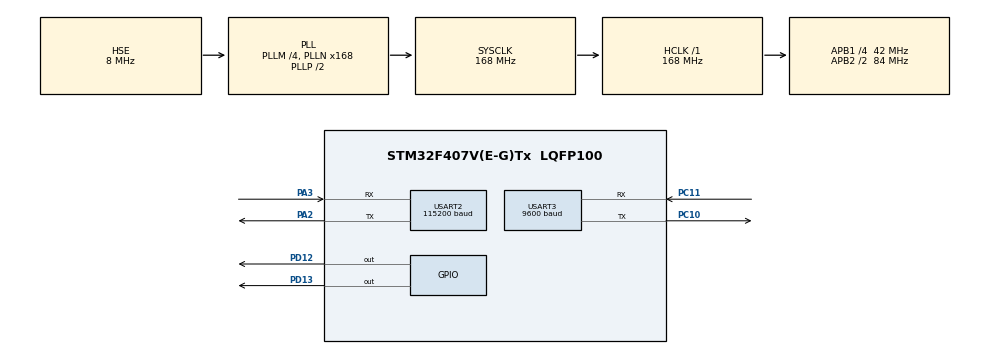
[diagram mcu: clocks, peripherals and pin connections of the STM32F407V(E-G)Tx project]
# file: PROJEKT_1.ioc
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Mcu.Family=STM32F4
Mcu.Name=STM32F407V(E-G)Tx
Mcu.Package=LQFP100
NVIC.PriorityGroup=NVIC_PRIORITYGROUP_4
NVIC.USART2_IRQn=true\:0\:0\:false\:false\:true\:true
NVIC.USART3_IRQn=true\:0\:0\:false\:false\:true\:true
PA2.Mode=Asynchronous
PA2.Signal=USART2_TX
PA3.Mode=Asynchronous
PA3.Signal=USART2_RX
PC10.Mode=Asynchronous
PC10.Signal=USART3_TX
PC11.Mode=Asynchronous
PC11.Signal=USART3_RX
PD12.Signal=GPIO_Output
PD13.Signal=GPIO_Output
PH0-OSC_IN.Mode=HSE-External-Oscillator
PH0-OSC_IN.Signal=RCC_OSC_IN
PH1-OSC_OUT.Mode=HSE-External-Oscillator
PH1-OSC_OUT.Signal=RCC_OSC_OUT
ProjectManager.HeapSize=0x200
ProjectManager.StackSize=0x400
ProjectManager.TargetToolchain=SW4STM32
RCC.48MHZClocksFreq_Value=84000000
RCC.AHBFreq_Value=168000000
RCC.APB1CLKDivider=RCC_HCLK_DIV4
RCC.APB1Freq_Value=42000000
RCC.APB1TimFreq_Value=84000000
RCC.APB2CLKDivider=RCC_HCLK_DIV2
RCC.APB2Freq_Value=84000000
RCC.APB2TimFreq_Value=168000000
RCC.CortexFreq_Value=168000000
RCC.HCLKFreq_Value=168000000
RCC.HSE_VALUE=8000000
RCC.HSI_VALUE=16000000
RCC.LSE_VALUE=32768
RCC.PLLM=4
RCC.PLLN=168
RCC.PLLSourceVirtual=RCC_PLLSOURCE_HSE
RCC.SYSCLKFreq_VALUE=168000000
RCC.SYSCLKSource=RCC_SYSCLKSOURCE_PLLCLK
RCC.VCOOutputFreq_Value=336000000
USART2.BaudRate=115200
USART2.VirtualMode=VM_ASYNC
USART3.BaudRate=9600
USART3.VirtualMode=VM_ASYNC
board=custom

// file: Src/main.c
/* USER CODE BEGIN Header */
/**
  ******************************************************************************
  * @file           : main.c
  * @brief          : Main program body
  ******************************************************************************
  ** This notice applies to any and all portions of this file
  * that are not between comment pairs USER CODE BEGIN and
  * USER CODE END. Other portions of this file, whether
  * inserted by the user or by software development tools
  * are owned by their respective copyright owners.
  *
  * COPYRIGHT(c) 2019 STMicroelectronics
  *
  * Redistribution and use in source and binary forms, with or without modification,
  * are permitted provided that the following conditions are met:
  *   1. Redistributions of source code must retain the above copyright notice,
  *      this list of conditions and the following disclaimer.
  *   2. Redistributions in binary form must reproduce the above copyright notice,
  *      this list of conditions and the following disclaimer in the documentation
  *      and/or other materials provided with the distribution.
  *   3. Neither the name of STMicroelectronics nor the names of its contributors
  *      may be used to endorse or promote products derived from this software
  *      without specific prior written permission.
  *
  * THIS SOFTWARE IS PROVIDED BY THE COPYRIGHT HOLDERS AND CONTRIBUTORS "AS IS"
  * AND ANY EXPRESS OR IMPLIED WARRANTIES, INCLUDING, BUT NOT LIMITED TO, THE
  * IMPLIED WARRANTIES OF MERCHANTABILITY AND FITNESS FOR A PARTICULAR PURPOSE ARE
  * DISCLAIMED. IN NO EVENT SHALL THE COPYRIGHT HOLDER OR CONTRIBUTORS BE LIABLE
  * FOR ANY DIRECT, INDIRECT, INCIDENTAL, SPECIAL, EXEMPLARY, OR CONSEQUENTIAL
  * DAMAGES (INCLUDING, BUT NOT LIMITED TO, PROCUREMENT OF SUBSTITUTE GOODS OR
  * SERVICES; LOSS OF USE, DATA, OR PROFITS; OR BUSINESS INTERRUPTION) HOWEVER
  * CAUSED AND ON ANY THEORY OF LIABILITY, WHETHER IN CONTRACT, STRICT LIABILITY,
  * OR TORT (INCLUDING NEGLIGENCE OR OTHERWISE) ARISING IN ANY WAY OUT OF THE USE
  * OF THIS SOFTWARE, EVEN IF ADVISED OF THE POSSIBILITY OF SUCH DAMAGE.
  *
  ******************************************************************************
  */
/* USER CODE END Header */

#include "main.h"

UART_HandleTypeDef huart2;
UART_HandleTypeDef huart3;

/* USER CODE BEGIN PV */

//	ZMIENNE DO POBIERANIA LOKALIZACJI
uint16_t sizeReceiveUART = 1;
uint8_t receiveUART[1];	//kontener na dane z modu³u GPS
uint8_t input[200];
uint16_t size = 7;
uint8_t signal[7]={'$', 'G', 'P', 'G', 'L', 'L', '\0'};	//ci¹g znaków, który szukamy w danych z modu³u GPS
uint8_t geomsg[80];			//kontener na wiadomoœc z lokalizacj¹
uint8_t space[1]={' '};
uint8_t end[1]={26};		//zakoñczenie wiadomoœci
uint8_t LAT[15];			//szerokoœc geograficzna
uint8_t LON[15];			//d³ugoœc geograficzna
uint8_t charac='1';
int i=0;					//zmienne do iteracji po znakach linii danych
int pos=0;
int k=0;
int licznik = -1;

//	KOMENDY AT DO KONFIGURACJI MODU£U GSM, WYSY£ANIA I ODBIERANIA WIADOMOŒCI
uint8_t ate[5] = {'A', 'T', 'E', '0', '\r'};																		//komenda AT wy³¹czaj¹ca echo
uint8_t at[3] = {'A', 'T', '\r'};																					//komenda AT sprawdzaj¹ca po³¹czenie - modu³ odpowiada OK
uint8_t cmgf[10]={'A','T','+','C','M','G','F','=','1', '\r'};														//komenda AT ustawiaj¹ca tryb wysy³ania i odbierania wiadomoœci
uint8_t cmgr[10]={'A','T','+','C','M','G','R','=','1', '\r'};														//komenda AT sprawdzaj¹ca, czy na pozycji 1 znajduje siê nowa wiadomoœc
uint8_t cnmi[18]={'A','T','+','C','N','M','I','=','1',',','1',',','0',',','0',',','0', '\r'};						//komenda AT z ustawieniami powiadomieñ o wiadomoœciach SMS
uint8_t cpms[23]={'A','T','+','C','P','M','S','=','"','S','M','"',',','"','S','M','"',',','"','S','M','"', '\r'};	//komenda AT ustawiaj¹ca zapis wiadomoœci w pamiêci modu³u
uint8_t cmgd[12]={'A','T','+','C','M','G','D','=','1',',','4', '\r'};												//komenda AT usuwaj¹ca wszystkie wiadomoœci z pamiêci modu³u
uint8_t cmgs[23]={'A','T','+','C','M','G','S','=','"','+','4','8','7','8','0','1','2','2','3','1','4','"','\r'};	//komenda AT inicjalizuj¹ca wysy³anie SMS na numer u¿ytkownika
uint8_t receiveREQUEST[100];	//kontener na odpowiedzi modu³u

//********************************************* FLAGA GOOD *****************************************
int good = 0;

	/*	Flaga, która "zarz¹dza" ca³ym procesem odbierania i wysy³ania wiadomoœci.
		Przybiera 5 wartoœci:
			0 = pocz¹tkowa wartoœc przed konfiguracj¹ modu³u GMS
			1 = po konfiguracji modu³u GSM czekamy na wiadomoœc od u¿ytkownika
			2 = otrzymaliœmy wiadomoœc, pobieramy lokalizacjê
			3 = pobraliœmy lokalizacjê, mo¿na przygotowac wiadomosc do wys³ania
			4 = wiadomoœc z lokalizacj¹ jest gotowa do wys³ania
			Struktura dzia³ania procesu to		0 -> 1 -> 2 -> 3 -> 4 -> 1 -> 2 -> 3 -> 4 -> 1 ->...
	*/

//***************************************************************************************************

int valueon=1;
int valueoff=0;

/* USER CODE END PV */

void SystemClock_Config(void);
static void MX_GPIO_Init(void);
static void MX_USART3_UART_Init(void);
static void MX_USART2_UART_Init(void);
/* USER CODE BEGIN PFP */

void HAL_UART_RxCpltCallback(UART_HandleTypeDef *huart) {
   if(huart->Instance == USART3){
	   //****************************************ODBIÓR DANYCH Z MODU£U GPS, WYCI¥GANIE Z DANYCH D£UGOŒCI I SZEROKOŒCI GEOGRAFICZNEJ******************************************

	   //	1.	Sprawdzamy, czy komunikat zaczyna sie od $GPGLL

	  if(good==2){
	   if(receiveUART[0]=='$'){						//wykryto now¹ liniê
		   if(licznik==-1){							//czy kontener jest pusty?
			   input[0]=receiveUART[0];				//wsadzamy znak do kontenera
			   licznik=1;							//mo¿na pobierac dalej
		   }
		   else good=3;								//zakoñczenie pobierania linii zaczynaj¹cej siê od $GPGLL, mo¿emy przejœc do przygotowywania wiadomoœci do wys³ania
	   }
	   else if(licznik>0){							//wsadzamy kolejne znaki po $ do kontenera
		   input[licznik]=receiveUART[0];
		   licznik++;

		   if(licznik==6){							//pobraliœmy 6 znaków
		   		   if(strcmp(input, signal)!=0){	//sprawdzamy, czy nasze 6 znaków to $GPGLL
		   			   licznik=-1;					//jeœli nie, zaczynamy od nowa, jeœli tak, to pobieramy dalej a¿ napotkamy znak $ (nowa linia)
		   		   }
		   	   }

	   }
	  }

	  //	2. Mamy liniê która nas interesuje, wyci¹gamy z niej szerokoœc i dlugoœc geograficzn¹ i stworzyc wiadomoœc do wys³ania

	  if(good==3){

		  charac=input[7];		// GPS wysy³a dane nawet jesli nie ma ³¹cznoœci z satelit¹ - 8. znak takiej linii danych jest wtedy przecinkiem
		  if(charac==','){good=2;}	//data invalid, wracamy do punktu 1.

		  else{		//data valid, wyci¹gamy z linii danych szerokoœc geograficzn¹ iteruj¹c po znakach
			  HAL_GPIO_WritePin(GPIOD, GPIO_PIN_12, valueon);
			  for(i=7; ; i++){
				if(input[i]==','){
					LAT[k]=input[i+1];
					pos=i+3;
				break;			//po naptkaniu przecinka koniec pobierania szerokosci
			  }
				LAT[k]=input[i];	//pobieranie szerokoœci
				k++;
		  }

		  	//	wyci¹gamy z linii d³ugoœc geograficzn¹ w taki sam sposób
		  	k=0;
		  	for(i=pos; ; i++){
		  		if(input[i]==','){
		  		LON[k]=input[i+1];
		  		break;
		  	}
		  		LON[k]=input[i];
		  		k++;
		  	}
		  		k=0;

		  // ³¹czymy szerokoœc i d³ugoœc w jedn¹ wiadomoœc
		  strcat(geomsg, LAT);
		  strcat(geomsg, space);
		  strcat(geomsg, LON);
		  strcat(geomsg, end);
		  good=4;	// mamy gotow¹ wiadomoœc, przechodzimy do jej wys³ania

		 }
	  }

       HAL_UART_Receive_IT(&huart3, receiveUART, sizeReceiveUART);

   }
   	   // ********************************************************************************************************************************************************************

   	   // ******************************************************** ODBIERANIE WIADOMOŒCI SMS *********************************************************************************
   else if(huart->Instance == USART2){

   	//sprawdzamy, czy modu³ GSM otrzyma³ now¹ wiadomoœc - na komendê AT+CMGR=1 odpowiada wtedy +CMGR: <dane o wiadomosci>

		if(good==1){
			if(receiveREQUEST[3]=='C' && receiveREQUEST[4]=='M' && receiveREQUEST[5]=='G' && receiveREQUEST[6]=='R'){
				HAL_GPIO_WritePin(GPIOD, GPIO_PIN_13, valueon);
				good=2;				//dostaliœmy wiadomoœc, mo¿emy przejœc do odbierania lokalizacji
				HAL_UART_Transmit_IT(&huart2, cmgd, strlen(cmgd));		//usuwamy wiadomoœc
			}
		}

   }

   // ************************************************************************************************************************************************************************

}

/* USER CODE END PFP */

int main(void)
{

  /* MCU Configuration--------------------------------------------------------*/

  /* Reset of all peripherals, Initializes the Flash interface and the Systick. */
  HAL_Init();

  /* Configure the system clock */
  SystemClock_Config();

  /* Initialize all configured peripherals */
  MX_GPIO_Init();
  MX_USART3_UART_Init();
  MX_USART2_UART_Init();
  /* USER CODE BEGIN 2 */
  HAL_UART_Transmit_IT(&huart2, ate, 5);				//wy³¹czamy echo
  HAL_Delay(200);
  HAL_UART_Receive_IT(&huart2, receiveREQUEST, 11);

  HAL_UART_Transmit_IT(&huart2, at, strlen(at));		//sprawdzamy po³¹czenie
  HAL_Delay(200);
  HAL_UART_Receive_IT(&huart2, receiveREQUEST, 6);

  HAL_UART_Transmit_IT(&huart2, cmgf, strlen(cmgf));	//ustawiamy tryb wysy³ania i odbierania wiadomoœci
  HAL_Delay(200);
  HAL_UART_Receive_IT(&huart2, receiveREQUEST, 6);

  HAL_UART_Transmit_IT(&huart2, cnmi, strlen(cnmi));	//ustawiamy powiadomienia
  HAL_Delay(200);
  HAL_UART_Receive_IT(&huart2, receiveREQUEST, 6);

  HAL_UART_Transmit_IT(&huart2, cpms, strlen(cpms));	//ustawiamy zapisywanie wiadomoœci
  HAL_UART_Receive_IT(&huart2, receiveREQUEST, 31);

  good=1;		//skonfigurowaliœmy modu³ GSM, czekamy na wiadomoœc od u¿ytkownika

  HAL_UART_Receive_IT(&huart3, receiveUART, sizeReceiveUART);	//zaczynamy pobierac dane od modu³u GPS -
  	  	  	  	  	  	  	  	  	  	  	  	  	  	  	  	//upewniamy siê wtedy, ¿e nie straci przez swoj¹ bezczynnoœc po³¹czenia

  /* USER CODE END 2 */

  /* Infinite loop */
  while (1)
  {

    /* USER CODE BEGIN 3 */

	  //********************************************************* WYSY£ANIE WIADOMOŒCI *******************************************************************

	  	  // 1. Sprawdzamy, czy modu³ GSM otrzyma³ wiadomoœc - proœbê o lokalizacjê
	  if(good==1){
		  HAL_UART_Transmit_IT(&huart2, cmgr, strlen(cmgr));
		  HAL_Delay(200);
		  HAL_UART_Receive_IT(&huart2, receiveREQUEST, 15);
		  HAL_Delay(500);
	  }

	  	  // 2. Po otrzymaniu proœby o lokalizacjê i stworzeniu wiadomoœci z lokalizacj¹ wysy³amy j¹ do u¿ytkownika
	  if(good==4){
		  HAL_UART_Transmit_IT(&huart2, cmgs, strlen(cmgs));
		  		  HAL_Delay(200);
		  		  HAL_UART_Transmit_IT(&huart2, geomsg, strlen(geomsg));
		  		  HAL_Delay(200);

		  		  HAL_GPIO_WritePin(GPIOD, GPIO_PIN_12, valueoff);
		  		  HAL_GPIO_WritePin(GPIOD, GPIO_PIN_13, valueoff);

		  		  good=1;	//wracamy do pocz¹tku - czekamy na kolejn¹ wiadomoœc od u¿ytkownika
	  }

	  //****************************************************************************************************************************************************

  }
  /* USER CODE END 3 */
}

void SystemClock_Config(void)
{
  RCC_OscInitTypeDef RCC_OscInitStruct = {0};
  RCC_ClkInitTypeDef RCC_ClkInitStruct = {0};

  /**Configure the main internal regulator output voltage
  */
  __HAL_RCC_PWR_CLK_ENABLE();
  __HAL_PWR_VOLTAGESCALING_CONFIG(PWR_REGULATOR_VOLTAGE_SCALE1);
  /**Initializes the CPU, AHB and APB busses clocks
  */
  RCC_OscInitStruct.OscillatorType = RCC_OSCILLATORTYPE_HSE;
  RCC_OscInitStruct.HSEState = RCC_HSE_ON;
  RCC_OscInitStruct.PLL.PLLState = RCC_PLL_ON;
  RCC_OscInitStruct.PLL.PLLSource = RCC_PLLSOURCE_HSE;
  RCC_OscInitStruct.PLL.PLLM = 4;
  RCC_OscInitStruct.PLL.PLLN = 168;
  RCC_OscInitStruct.PLL.PLLP = RCC_PLLP_DIV2;
  RCC_OscInitStruct.PLL.PLLQ = 4;
  if (HAL_RCC_OscConfig(&RCC_OscInitStruct) != HAL_OK)
  {
    Error_Handler();
  }
  /**Initializes the CPU, AHB and APB busses clocks
  */
  RCC_ClkInitStruct.ClockType = RCC_CLOCKTYPE_HCLK|RCC_CLOCKTYPE_SYSCLK
                              |RCC_CLOCKTYPE_PCLK1|RCC_CLOCKTYPE_PCLK2;
  RCC_ClkInitStruct.SYSCLKSource = RCC_SYSCLKSOURCE_PLLCLK;
  RCC_ClkInitStruct.AHBCLKDivider = RCC_SYSCLK_DIV1;
  RCC_ClkInitStruct.APB1CLKDivider = RCC_HCLK_DIV4;
  RCC_ClkInitStruct.APB2CLKDivider = RCC_HCLK_DIV2;

  if (HAL_RCC_ClockConfig(&RCC_ClkInitStruct, FLASH_LATENCY_5) != HAL_OK)
  {
    Error_Handler();
  }
}

static void MX_USART2_UART_Init(void)
{

  huart2.Instance = USART2;
  huart2.Init.BaudRate = 115200;
  huart2.Init.WordLength = UART_WORDLENGTH_8B;
  huart2.Init.StopBits = UART_STOPBITS_1;
  huart2.Init.Parity = UART_PARITY_NONE;
  huart2.Init.Mode = UART_MODE_TX_RX;
  huart2.Init.HwFlowCtl = UART_HWCONTROL_NONE;
  huart2.Init.OverSampling = UART_OVERSAMPLING_16;
  if (HAL_UART_Init(&huart2) != HAL_OK)
  {
    Error_Handler();
  }

}

static void MX_USART3_UART_Init(void)
{

  huart3.Instance = USART3;
  huart3.Init.BaudRate = 9600;
  huart3.Init.WordLength = UART_WORDLENGTH_8B;
  huart3.Init.StopBits = UART_STOPBITS_1;
  huart3.Init.Parity = UART_PARITY_NONE;
  huart3.Init.Mode = UART_MODE_TX_RX;
  huart3.Init.HwFlowCtl = UART_HWCONTROL_NONE;
  huart3.Init.OverSampling = UART_OVERSAMPLING_16;
  if (HAL_UART_Init(&huart3) != HAL_OK)
  {
    Error_Handler();
  }

}

static void MX_GPIO_Init(void)
{
  GPIO_InitTypeDef GPIO_InitStruct = {0};

  /* GPIO Ports Clock Enable */
  __HAL_RCC_GPIOH_CLK_ENABLE();
  __HAL_RCC_GPIOA_CLK_ENABLE();
  __HAL_RCC_GPIOD_CLK_ENABLE();
  __HAL_RCC_GPIOC_CLK_ENABLE();

  /*Configure GPIO pin Output Level */
  HAL_GPIO_WritePin(GPIOD, GPIO_PIN_12|GPIO_PIN_13, GPIO_PIN_RESET);

  /*Configure GPIO pins : PD12 PD13 */
  GPIO_InitStruct.Pin = GPIO_PIN_12|GPIO_PIN_13;
  GPIO_InitStruct.Mode = GPIO_MODE_OUTPUT_PP;
  GPIO_InitStruct.Pull = GPIO_NOPULL;
  GPIO_InitStruct.Speed = GPIO_SPEED_FREQ_LOW;
  HAL_GPIO_Init(GPIOD, &GPIO_InitStruct);

}

void Error_Handler(void)
{
}

/************************ (C) COPYRIGHT STMicroelectronics *****END OF FILE****/
